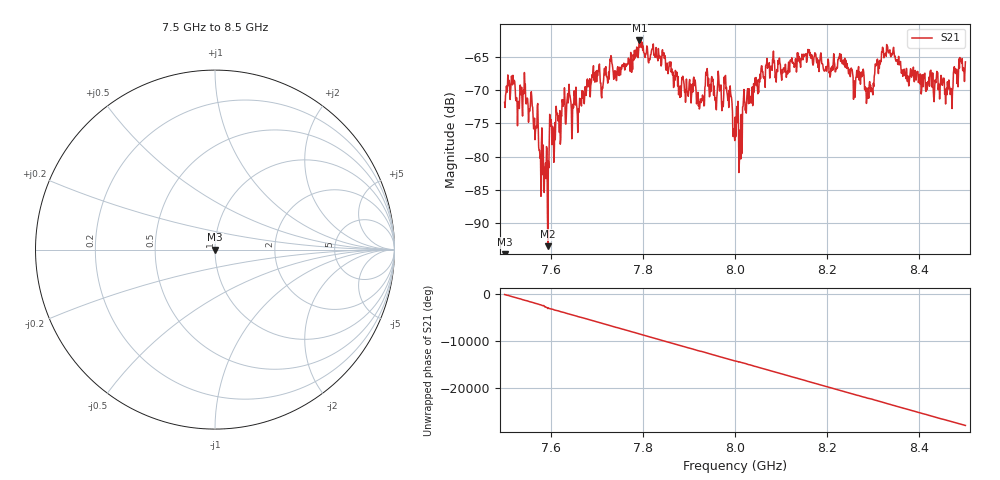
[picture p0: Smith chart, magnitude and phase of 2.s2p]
!Model 4957F
!Correction: S11(Off)S21(Off)S12(Off)S22(Off)
!S2P File: Measurements:S11,S21,S12,S22:
# Hz S RI R 50
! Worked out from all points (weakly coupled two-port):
!   1001 points, 7.5 GHz to 8.5 GHz, reference 50 ohm
!   highest |S21| = -62.51 dB at 7.793 GHz (marker M1); lowest = -93.5 dB at 7.594 GHz (marker M2)
!   lowest |S11| = - dB at 7.5 GHz (marker M3), VSWR 1.00, Z = 50 + j0 ohm
!   |S11| at or under -10 dB: start of sweep to end of sweep
!   S12 and S22 are empty: the file has one direction only
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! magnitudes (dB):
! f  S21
! 7.5 GHz  -71.8
! 7.545 GHz  -69.1
! 7.579 GHz  -86.0
! 7.594 GHz  -93.5
! 7.64 GHz  -69.1
! 7.667 GHz  -72.4
! 7.793 GHz  -62.5
! 7.834 GHz  -63.7
! 7.922 GHz  -71.7
! 7.94 GHz  -66.7
! 7.981 GHz  -69.8
! 8 GHz  -74.0
! 8.012 GHz  -80.3
! 8.023 GHz  -72.4
! 8.071 GHz  -66.3
! 8.167 GHz  -64.9
! 8.23 GHz  -64.6
! 8.286 GHz  -71.2
! 8.334 GHz  -64.4
! 8.374 GHz  -68.7
! 8.467 GHz  -70.7
! 8.5 GHz  -65.7
